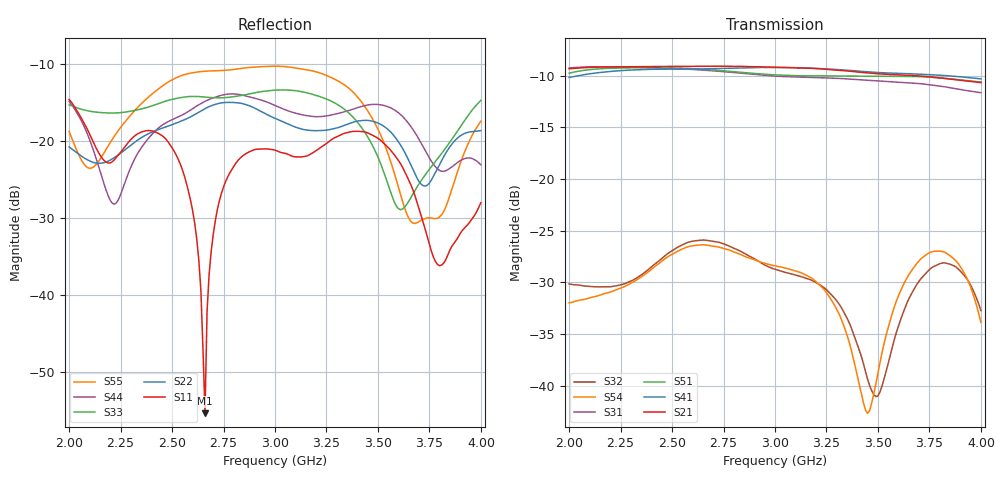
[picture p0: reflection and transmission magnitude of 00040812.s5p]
! Created with skrf 1.8.0 (http://scikit-rf.org).
# Hz S RI R 50.0
!freq ReS11 ImS11 ReS12 ImS12 ReS13 ImS13
! ReS14 ImS14 ReS15 ImS15
! ReS21 ImS21 ReS22 ImS22 ReS23 ImS23
! ReS24 ImS24 ReS25 ImS25
! ReS31 ImS31 ReS32 ImS32 ReS33 ImS33
! ReS34 ImS34 ReS35 ImS35
! ReS41 ImS41 ReS42 ImS42 ReS43 ImS43
! ReS44 ImS44 ReS45 ImS45
! ReS51 ImS51 ReS52 ImS52 ReS53 ImS53
! ReS54 ImS54 ReS55 ImS55
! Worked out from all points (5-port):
!   201 points, 2 GHz to 4 GHz, reference 50 ohm
!   strongest paths, dB at 2 GHz, 2.5 GHz, 3 GHz, 3.5 GHz, 4 GHz:
!     S21: -9.3, -9.1, -9.2, -9.8, -10.7
!     S41: -10.2, -9.4, -9.2, -9.7, -10.3
!     S51: -9.8, -9.3, -9.9, -10.1, -10.6
!     S31: -9.3, -9.3, -10.0, -10.5, -11.7
!     S54: -32.0, -27.3, -28.4, -38.8, -33.9
!     S32: -30.2, -27.0, -28.7, -41.0, -32.7
!   lowest |S11| = -55.3 dB at 2.66 GHz (marker M1), VSWR 1.00, Z = 50.2 + j0.0511 ohm
!   |S11| at or under -10 dB: start of sweep to end of sweep
